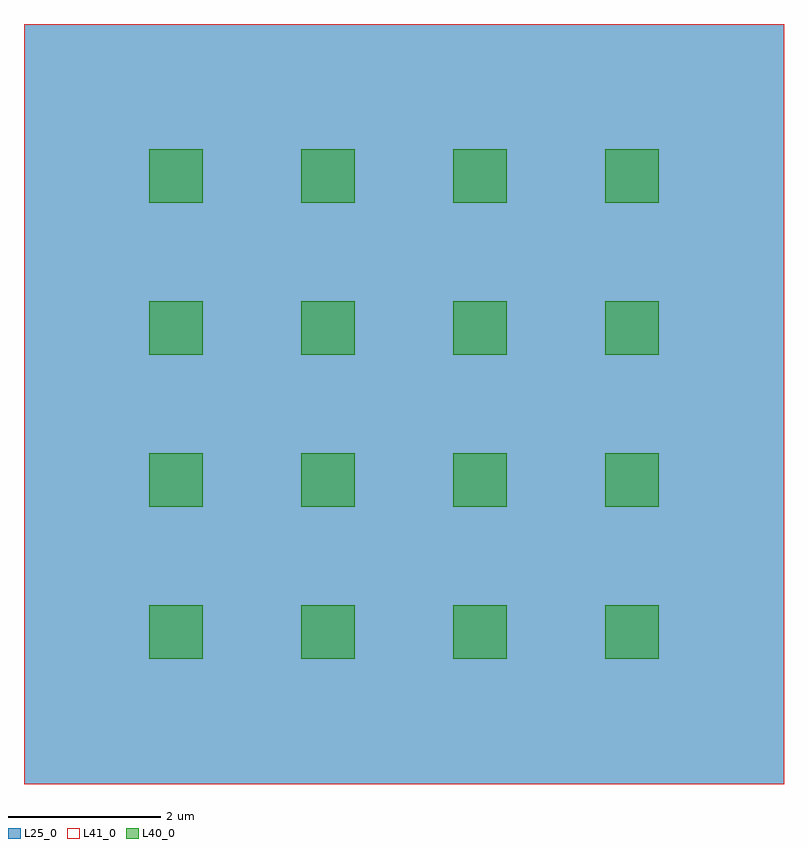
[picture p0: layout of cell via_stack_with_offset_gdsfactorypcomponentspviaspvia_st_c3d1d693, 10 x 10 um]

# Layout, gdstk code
import gdstk
lib = gdstk.Library(unit=1e-6, precision=1e-09)
def R(c, l, rs):  # rectangles x0, y0, x1, y1
    for r in rs: c.add(gdstk.rectangle(r[:2], r[2:], *l))
L25_0 = (25, 0)
L40_0 = (40, 0)
L41_0 = (41, 0)

compass_gdsfactorypcompo = lib.new_cell('compass_gdsfactorypcomponentspshapespcompass_S10_10_LPP_45e92a15')
R(compass_gdsfactorypcompo, L25_0, [(-5,-5,5,5)])

c_compass_gdsfactorypcompo = lib.new_cell('compass_gdsfactorypcomponentspshapespcompass_S10_10_LPP_f97a3a88')
R(c_compass_gdsfactorypcompo, L25_0, [(-5,-5,5,5)])

c_compass_gdsfactorypcompo_ = lib.new_cell('compass_gdsfactorypcomponentspshapespcompass_S10_10_LM1_bbd90e5e')
R(c_compass_gdsfactorypcompo_, L41_0, [(-5,-5,5,5)])

c_compass_gdsfactorypcompo__ = lib.new_cell('compass_gdsfactorypcomponentspshapespcompass_S10_10_LM1_02253188')
R(c_compass_gdsfactorypcompo__, L41_0, [(-5,-5,5,5)])

via_gdsfactorypcomponent = lib.new_cell('via_gdsfactorypcomponentspviaspvia_S0p7_0p7_E1_LVIAC_BL_572539c8')
R(via_gdsfactorypcomponent, L40_0, [(-0.35,-0.35,0.35,0.35)])

via_stack_with_offset_gd = lib.new_cell('via_stack_with_offset_gdsfactorypcomponentspviaspvia_st_c3d1d693')
via_stack_with_offset_gd.add(gdstk.Reference(compass_gdsfactorypcompo, (0,5)))
via_stack_with_offset_gd.add(gdstk.Reference(c_compass_gdsfactorypcompo, (0,5)))
via_stack_with_offset_gd.add(gdstk.Reference(c_compass_gdsfactorypcompo_, (0,5)))
via_stack_with_offset_gd.add(gdstk.Reference(c_compass_gdsfactorypcompo__, (0,5)))
r = gdstk.Reference(via_gdsfactorypcomponent, (-3,2)); r.repetition = gdstk.Repetition(4, 4, v1=(2,0), v2=(0,2)); via_stack_with_offset_gd.add(r)
via_stack_with_offset_gd.add(gdstk.Reference(c_compass_gdsfactorypcompo, (0,5)))

lib.write_gds('via_stack_with_offset_gdsfactorypcomponentspviaspvia_st_c3d1d693.gds')
